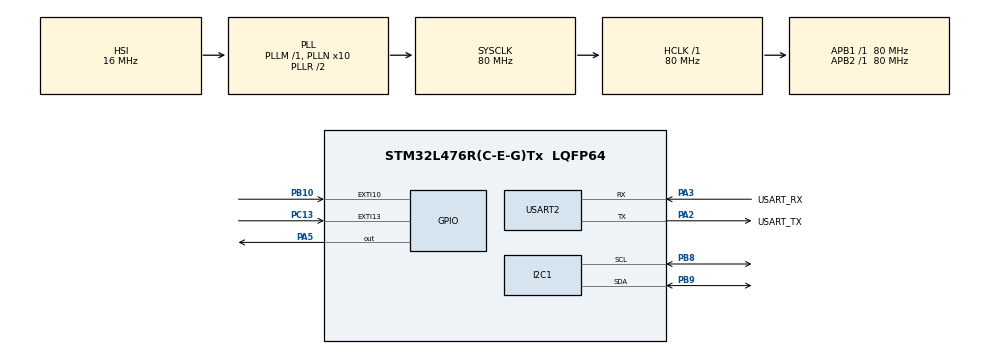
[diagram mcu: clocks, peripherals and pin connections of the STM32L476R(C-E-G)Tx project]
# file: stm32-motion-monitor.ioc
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Dma.I2C1_RX.0.Direction=DMA_PERIPH_TO_MEMORY
Dma.I2C1_RX.0.Instance=DMA1_Channel7
Dma.I2C1_RX.0.MemDataAlignment=DMA_MDATAALIGN_BYTE
Dma.I2C1_RX.0.MemInc=DMA_MINC_ENABLE
Dma.I2C1_RX.0.Mode=DMA_NORMAL
Dma.I2C1_RX.0.PeriphDataAlignment=DMA_PDATAALIGN_BYTE
Dma.I2C1_RX.0.PeriphInc=DMA_PINC_DISABLE
Dma.I2C1_RX.0.Priority=DMA_PRIORITY_LOW
Dma.Request0=I2C1_RX
FREERTOS.Tasks01=acquisitionTask,24,512,StartDefaultTask,Default,NULL,Dynamic,NULL,NULL;interfaceTask,8,750,StartTask02,Default,NULL,Dynamic,NULL,NULL
FREERTOS.configTOTAL_HEAP_SIZE=16384
FREERTOS.configUSE_NEWLIB_REENTRANT=1
I2C1.OwnAddress=0x0
I2C1.Timing=0x10D19CE4
Mcu.Family=STM32L4
Mcu.Name=STM32L476R(C-E-G)Tx
Mcu.Package=LQFP64
NUCLEO-L476RG.LD2=true
NVIC.DMA1_Channel7_IRQn=true\:5\:0\:false\:false\:true\:true\:false\:true\:true
NVIC.EXTI15_10_IRQn=true\:5\:0\:false\:false\:true\:true\:false\:true\:true
NVIC.I2C1_ER_IRQn=true\:5\:0\:false\:false\:true\:true\:true\:true\:true
NVIC.I2C1_EV_IRQn=true\:5\:0\:false\:false\:true\:true\:true\:true\:true
NVIC.PriorityGroup=NVIC_PRIORITYGROUP_4
NVIC.TIM6_DAC_IRQn=true\:5\:0\:false\:false\:true\:true\:true\:true\:true
NVIC.TIM7_IRQn=true\:15\:0\:false\:false\:true\:false\:false\:true\:true
NVIC.TimeBase=TIM7_IRQn
NVIC.TimeBaseIP=TIM7
NVIC.USART2_IRQn=true\:5\:0\:false\:false\:true\:true\:true\:true\:true
PA13\ (JTMS-SWDIO).GPIO_Label=TMS
PA13\ (JTMS-SWDIO).Mode=Serial_Wire
PA13\ (JTMS-SWDIO).Signal=SYS_JTMS-SWDIO
PA14\ (JTCK-SWCLK).GPIO_Label=TCK
PA14\ (JTCK-SWCLK).Mode=Serial_Wire
PA14\ (JTCK-SWCLK).Signal=SYS_JTCK-SWCLK
PA2.GPIO_Label=USART_TX
PA2.GPIO_Mode=GPIO_MODE_AF_PP
PA2.GPIO_PuPd=GPIO_NOPULL
PA2.GPIO_Speed=GPIO_SPEED_FREQ_VERY_HIGH
PA2.Mode=Asynchronous
PA2.Signal=USART2_TX
PA3.GPIO_Label=USART_RX
PA3.GPIO_Mode=GPIO_MODE_AF_PP
PA3.GPIO_PuPd=GPIO_NOPULL
PA3.GPIO_Speed=GPIO_SPEED_FREQ_VERY_HIGH
PA3.Mode=Asynchronous
PA3.Signal=USART2_RX
PA5.Signal=GPIO_Output
PB10.Signal=GPXTI10
PB3\ (JTDO-TRACESWO).GPIO_Label=SWO
PB3\ (JTDO-TRACESWO).Signal=SYS_JTDO-SWO
PB8.Mode=I2C
PB8.Signal=I2C1_SCL
PB9.Mode=I2C
PB9.Signal=I2C1_SDA
PC13.GPIO_ModeDefaultEXTI=GPIO_MODE_IT_FALLING
PC13.Signal=GPXTI13
PC14-OSC32_IN\ (PC14).Signal=RCC_OSC32_IN
PC15-OSC32_OUT\ (PC15).Signal=RCC_OSC32_OUT
PH0-OSC_IN\ (PH0).Signal=RCC_OSC_IN
PH1-OSC_OUT\ (PH1).Signal=RCC_OSC_OUT
ProjectManager.HeapSize=0x200
ProjectManager.StackSize=0x400
ProjectManager.TargetToolchain=STM32CubeIDE
RCC.ADCFreq_Value=64000000
RCC.AHBFreq_Value=80000000
RCC.APB1Freq_Value=80000000
RCC.APB1TimFreq_Value=80000000
RCC.APB2Freq_Value=80000000
RCC.APB2TimFreq_Value=80000000
RCC.CortexFreq_Value=80000000
RCC.HCLKFreq_Value=80000000
RCC.HSE_VALUE=8000000
RCC.HSI_VALUE=16000000
RCC.LSE_VALUE=32768
RCC.MSI_VALUE=4000000
RCC.PLLN=10
RCC.PLLSourceVirtual=RCC_PLLSOURCE_HSI
RCC.PREFETCH_ENABLE=1
RCC.SYSCLKFreq_VALUE=80000000
RCC.SYSCLKSource=RCC_SYSCLKSOURCE_PLLCLK
RCC.USBFreq_Value=64000000
RCC.VCOOutputFreq_Value=160000000
TIM2.Prescaler=79
TIM6.Period=4999
TIM6.Prescaler=7999
USART2.VirtualMode-Asynchronous=VM_ASYNC
VP_FREERTOS_VS_CMSIS_V2.Mode=CMSIS_V2
VP_NUCLEO-L476RG_VS_BSP_COMMON.Mode=COMMON
VP_SYS_VS_tim7.Mode=TIM7
VP_TIM2_VS_ClockSourceINT.Mode=Internal
VP_TIM6_VS_ClockSourceINT.Mode=Enable_Timer
board=NUCLEO-L476RG

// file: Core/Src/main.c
/* USER CODE BEGIN Header */
/**
  ******************************************************************************
  * @file           : main.c
  * @brief          : Main program body
  ******************************************************************************
  * @attention
  *
  * Copyright (c) 2026 STMicroelectronics.
  * All rights reserved.
  *
  * This software is licensed under terms that can be found in the LICENSE file
  * in the root directory of this software component.
  * If no LICENSE file comes with this software, it is provided AS-IS.
  *
  ******************************************************************************
  */
/* USER CODE END Header */
#include "main.h"
#include "cmsis_os.h"

/* USER CODE BEGIN Includes */
#include "stdbool.h"
#include <stdio.h>
#include "ism330dhcx.h"
#include "sensor_sample_buffer.h"
#include "sensor_analysis_window.h"
#include "sensor_acquisition.h"
#include "condition_monitor.h"

#include "cli.h"
#include "control_command.h"
/* USER CODE END Includes */

/* USER CODE BEGIN PTD */
typedef enum
{
    ACQUISITION_STATE_STOPPED = 0,
    ACQUISITION_STATE_RUNNING,
    ACQUISITION_STATE_STOPPING,
    ACQUISITION_STATE_RECONFIGURING,
    ACQUISITION_STATE_STARTING,
	ACQUISITION_STATE_FAULT
} acquisition_control_state_t;
typedef struct
{
    acquisition_control_state_t acquisition_state;
    condition_state_t state;
    float severity_score;

    sensor_acceleration_time_features_t acceleration_features;
    uint32_t completed_window_count;

    uint32_t consecutive_sensor_errors;
    uint32_t dropped_sensor_samples;
    uint32_t dropped_telemetry_reports;
} telemetry_report_t;

/* USER CODE END PTD */

/* USER CODE BEGIN PD */
#define TELEMETRY_QUEUE_CAPACITY 4U
#define UART_RX_QUEUE_CAPACITY     64U
#define CONTROL_COMMAND_QUEUE_CAPACITY 2U

#define STOP_DMA_TIMEOUT_MS 50U

/* USER CODE END PD */

/* USER CODE BEGIN PM */
#define LED_DELAY_MS					   500U

/* USER CODE END PM */

I2C_HandleTypeDef hi2c1;
DMA_HandleTypeDef hdma_i2c1_rx;

TIM_HandleTypeDef htim2;
TIM_HandleTypeDef htim6;

UART_HandleTypeDef huart2;

/* Definitions for acquisitionTask */
osThreadId_t acquisitionTaskHandle;
const osThreadAttr_t acquisitionTask_attributes = {
  .name = "acquisitionTask",
  .stack_size = 512 * 4,
  .priority = (osPriority_t) osPriorityNormal,
};
/* Definitions for interfaceTask */
osThreadId_t interfaceTaskHandle;
const osThreadAttr_t interfaceTask_attributes = {
  .name = "interfaceTask",
  .stack_size = 750 * 4,
  .priority = (osPriority_t) osPriorityLow,
};

/* USER CODE BEGIN PV */

static volatile uint32_t timer_event_count=0U;

static volatile bool button_pressed_event = false;
static bool blinking_enabled = true;
static uint32_t last_button_tick = 0U;
static const uint32_t debounce_time_ms = 40U;

//Motion sensor
static ism330dhcx_t motion_sensor;
static sensor_sample_t raw_sample;

//DMA variables
static sensor_physical_sample_t  dma_converted_sample;
static sensor_sample_buffer_t sensor_sample_buffer;
static sensor_window_t sensor_window;
static sensor_acquisition_t sensor_acquisition;
static uint32_t previous_timestamp_us = 0U;
static uint32_t latest_dt_us = 0U;

static uint32_t min_dt_us = UINT32_MAX;
static uint32_t max_dt_us = 0U;

static uint64_t sum_dt_us = 0U;
static uint32_t dt_sample_count = 0U;

static ism330dhcx_axes_t
    centered_accelerations[SENSOR_ANALYSIS_WINDOW_SIZE];
static sensor_acceleration_time_features_t acceleration_features;
static condition_monitor_t condition_monitor;

static osMessageQueueId_t telemetry_queue_handle;
static osMessageQueueId_t rx_queue_handle;
static osMessageQueueId_t control_command_queue_handle;
static osMessageQueueId_t control_response_queue_handle;

static uint8_t uart_rx_byte;
static volatile uint32_t uart_rx_dropped_byte_count = 0U;
static volatile uint32_t uart_rx_error_count = 0U;
static volatile uint32_t uart_rx_rearm_error_count = 0U;
static volatile bool uart_rx_restart_required = false;
/* USER CODE END PV */

void SystemClock_Config(void);
static void MX_GPIO_Init(void);
static void MX_DMA_Init(void);
static void MX_TIM6_Init(void);
static void MX_I2C1_Init(void);
static void MX_USART2_UART_Init(void);
static void MX_TIM2_Init(void);
void StartDefaultTask(void *argument);
void StartTask02(void *argument);

/* USER CODE BEGIN 0 */
static void handle_control_command(
    const control_command_t *command,
    const telemetry_report_t *report,
    bool report_available);
/* USER CODE END 0 */

int main(void)
{

  /* MCU Configuration--------------------------------------------------------*/

  /* Reset of all peripherals, Initializes the Flash interface and the Systick. */
  HAL_Init();

  /* Configure the system clock */
  SystemClock_Config();

  /* Initialize all configured peripherals */
  MX_GPIO_Init();
  MX_DMA_Init();
  MX_TIM6_Init();
  MX_I2C1_Init();
  MX_USART2_UART_Init();
  MX_TIM2_Init();
  /* USER CODE BEGIN 2 */

  if (HAL_TIM_Base_Start(&htim2) != HAL_OK)
  {
      Error_Handler();
  }
  //ISM330DHCX sensor
  ism330dhcx_status_t sensor_status;
  uint8_t device_id = 0U;

  const ism330dhcx_interface_config_t interface_config =
  {
		  .auto_increment = true,
		  .block_data_update = true
  };

  const ism330dhcx_sensor_config_t sensor_config =
  {
		  .accel_odr = ISM330DHCX_ACCEL_ODR_104_HZ,
		  .accel_range = ISM330DHCX_ACCEL_RANGE_4G,
		  .accel_mode  = ISM330DHCX_MODE_HIGH_PERFORMANCE,

		  .gyro_odr = ISM330DHCX_GYRO_ODR_104_HZ,
		  .gyro_range = ISM330DHCX_GYRO_500_DPS,
		  .gyro_mode   = ISM330DHCX_MODE_HIGH_PERFORMANCE
  };

  const ism330dhcx_interrupt1_output_config_t int1_config =
  {
	  .accelerometer_drdy = true,
	  .gyro_drdy = false,
	  .pulsed_drdy = true
  };

  static const condition_monitor_config_t condition_config =
  {
      .impact_reference_mps2 = 1.0f,
      .decay_factor = 0.8f,

      .warning_enter_score = 3.0f,
      .warning_exit_score = 1.0f,
      .alarm_enter_score = 10.0f,
	  .alarm_exit_score = 6.0f,
      .maximum_score = 100.0f,

      .sensor_fault_consecutive_error_limit = 3U
  };

  /* Step 1: Initialize the driver object. */
  sensor_status = ism330dhcx_init(
      &motion_sensor,
      &hi2c1,
	  ISM330DHCX_I2C_ADDRESS_HIGH_7BIT,
      100U);

  if (sensor_status != ISM330DHCX_OK)
  {
      Error_Handler();
  }

  /* Step 2: Confirm that the sensor responds. */
  sensor_status = ism330dhcx_read_device_id(
      &motion_sensor,
      &device_id);

  if (sensor_status != ISM330DHCX_OK)
  {
      Error_Handler();
  }

  /* Step 3: Reset the sensor and wait for completion. */
  sensor_status = ism330dhcx_reset(&motion_sensor);

  if (sensor_status != ISM330DHCX_OK)
  {
      Error_Handler();
  }
  /* Step 4: Confirm that the sensor still responds after reset. */
  device_id = 0U;

  sensor_status = ism330dhcx_read_device_id(
      &motion_sensor,
      &device_id);

  if (sensor_status != ISM330DHCX_OK)
  {
      Error_Handler();
  }

  /* Step 5: Apply the interface configuration. */
  sensor_status = ism330dhcx_configure_interface(
      &motion_sensor,
      &interface_config);

  if (sensor_status != ISM330DHCX_OK)
  {
      Error_Handler();
  }

  /* Step 6: Apply the sensor configuration. */

  sensor_status = ism330dhcx_configure_sensor(
      &motion_sensor,
      &sensor_config);

  if (sensor_status != ISM330DHCX_OK)
  {
      Error_Handler();
  }

  /* Step 7: Apply the INT1 DRDY configuration. */
  sensor_status = ism330dhcx_configure_int1(
      &motion_sensor,
      &int1_config);

  if (sensor_status != ISM330DHCX_OK)
  {
      Error_Handler();
  }
  /* Step 8: Apply the DMA configuration. */
  (void)sensor_sample_buffer_init(&sensor_sample_buffer);
  (void)sensor_window_init(&sensor_window);
  (void)sensor_acquisition_init(&sensor_acquisition, &motion_sensor);

  /* Step 9: Apply the condition monitoring configuration. */

  if (!condition_monitor_init(&condition_monitor,&condition_config))
  {
      Error_Handler();
  }

  if(HAL_TIM_Base_Start_IT(&htim6) != HAL_OK)
  {
	  Error_Handler();
  }
  /* USER CODE END 2 */

  /* Init scheduler */
  osKernelInitialize();

  /* USER CODE BEGIN RTOS_QUEUES */
  /* add queues, ... */
  telemetry_queue_handle = osMessageQueueNew(
      TELEMETRY_QUEUE_CAPACITY,
      sizeof(telemetry_report_t),
      NULL);

  if (telemetry_queue_handle == NULL)
  {
      Error_Handler();
  }

  rx_queue_handle = osMessageQueueNew(
      UART_RX_QUEUE_CAPACITY,
      sizeof(uint8_t),
      NULL);
  if (rx_queue_handle == NULL)
  {
      Error_Handler();
  }

  control_command_queue_handle = osMessageQueueNew(
      CONTROL_COMMAND_QUEUE_CAPACITY,
      sizeof(control_command_t),
      NULL);
  if (control_command_queue_handle == NULL)
  {
      Error_Handler();
  }
  control_response_queue_handle = osMessageQueueNew(
      CONTROL_COMMAND_QUEUE_CAPACITY,
      sizeof(control_response_t),
      NULL);
  if (control_response_queue_handle == NULL)
  {
      Error_Handler();
  }
  /* USER CODE END RTOS_QUEUES */

  /* Create the thread(s) */
  /* creation of acquisitionTask */
  acquisitionTaskHandle = osThreadNew(StartDefaultTask, NULL, &acquisitionTask_attributes);

  /* creation of interfaceTask */
  interfaceTaskHandle = osThreadNew(StartTask02, NULL, &interfaceTask_attributes);

  /* Initialize leds */
  BSP_LED_Init(LED_GREEN);

  /* Start scheduler */
  osKernelStart();

  /* We should never get here as control is now taken by the scheduler */

  /* Infinite loop */
  while (1)
  {

  }
}

void SystemClock_Config(void)
{
  RCC_OscInitTypeDef RCC_OscInitStruct = {0};
  RCC_ClkInitTypeDef RCC_ClkInitStruct = {0};

  /** Configure the main internal regulator output voltage
  */
  if (HAL_PWREx_ControlVoltageScaling(PWR_REGULATOR_VOLTAGE_SCALE1) != HAL_OK)
  {
    Error_Handler();
  }

  /** Initializes the RCC Oscillators according to the specified parameters
  * in the RCC_OscInitTypeDef structure.
  */
  RCC_OscInitStruct.OscillatorType = RCC_OSCILLATORTYPE_HSI;
  RCC_OscInitStruct.HSIState = RCC_HSI_ON;
  RCC_OscInitStruct.HSICalibrationValue = RCC_HSICALIBRATION_DEFAULT;
  RCC_OscInitStruct.PLL.PLLState = RCC_PLL_ON;
  RCC_OscInitStruct.PLL.PLLSource = RCC_PLLSOURCE_HSI;
  RCC_OscInitStruct.PLL.PLLM = 1;
  RCC_OscInitStruct.PLL.PLLN = 10;
  RCC_OscInitStruct.PLL.PLLP = RCC_PLLP_DIV7;
  RCC_OscInitStruct.PLL.PLLQ = RCC_PLLQ_DIV2;
  RCC_OscInitStruct.PLL.PLLR = RCC_PLLR_DIV2;
  if (HAL_RCC_OscConfig(&RCC_OscInitStruct) != HAL_OK)
  {
    Error_Handler();
  }

  /** Initializes the CPU, AHB and APB buses clocks
  */
  RCC_ClkInitStruct.ClockType = RCC_CLOCKTYPE_HCLK|RCC_CLOCKTYPE_SYSCLK
                              |RCC_CLOCKTYPE_PCLK1|RCC_CLOCKTYPE_PCLK2;
  RCC_ClkInitStruct.SYSCLKSource = RCC_SYSCLKSOURCE_PLLCLK;
  RCC_ClkInitStruct.AHBCLKDivider = RCC_SYSCLK_DIV1;
  RCC_ClkInitStruct.APB1CLKDivider = RCC_HCLK_DIV1;
  RCC_ClkInitStruct.APB2CLKDivider = RCC_HCLK_DIV1;

  if (HAL_RCC_ClockConfig(&RCC_ClkInitStruct, FLASH_LATENCY_4) != HAL_OK)
  {
    Error_Handler();
  }
}

static void MX_I2C1_Init(void)
{

  hi2c1.Instance = I2C1;
  hi2c1.Init.Timing = 0x10D19CE4;
  hi2c1.Init.OwnAddress1 = 0;
  hi2c1.Init.AddressingMode = I2C_ADDRESSINGMODE_7BIT;
  hi2c1.Init.DualAddressMode = I2C_DUALADDRESS_DISABLE;
  hi2c1.Init.OwnAddress2 = 0;
  hi2c1.Init.OwnAddress2Masks = I2C_OA2_NOMASK;
  hi2c1.Init.GeneralCallMode = I2C_GENERALCALL_DISABLE;
  hi2c1.Init.NoStretchMode = I2C_NOSTRETCH_DISABLE;
  if (HAL_I2C_Init(&hi2c1) != HAL_OK)
  {
    Error_Handler();
  }

  /** Configure Analogue filter
  */
  if (HAL_I2CEx_ConfigAnalogFilter(&hi2c1, I2C_ANALOGFILTER_ENABLE) != HAL_OK)
  {
    Error_Handler();
  }

  /** Configure Digital filter
  */
  if (HAL_I2CEx_ConfigDigitalFilter(&hi2c1, 0) != HAL_OK)
  {
    Error_Handler();
  }

}

static void MX_TIM2_Init(void)
{

  TIM_ClockConfigTypeDef sClockSourceConfig = {0};
  TIM_MasterConfigTypeDef sMasterConfig = {0};

  htim2.Instance = TIM2;
  htim2.Init.Prescaler = 79;
  htim2.Init.CounterMode = TIM_COUNTERMODE_UP;
  htim2.Init.Period = 4294967295;
  htim2.Init.ClockDivision = TIM_CLOCKDIVISION_DIV1;
  htim2.Init.AutoReloadPreload = TIM_AUTORELOAD_PRELOAD_DISABLE;
  if (HAL_TIM_Base_Init(&htim2) != HAL_OK)
  {
    Error_Handler();
  }
  sClockSourceConfig.ClockSource = TIM_CLOCKSOURCE_INTERNAL;
  if (HAL_TIM_ConfigClockSource(&htim2, &sClockSourceConfig) != HAL_OK)
  {
    Error_Handler();
  }
  sMasterConfig.MasterOutputTrigger = TIM_TRGO_RESET;
  sMasterConfig.MasterSlaveMode = TIM_MASTERSLAVEMODE_DISABLE;
  if (HAL_TIMEx_MasterConfigSynchronization(&htim2, &sMasterConfig) != HAL_OK)
  {
    Error_Handler();
  }

}

static void MX_TIM6_Init(void)
{

  TIM_MasterConfigTypeDef sMasterConfig = {0};

  htim6.Instance = TIM6;
  htim6.Init.Prescaler = 7999;
  htim6.Init.CounterMode = TIM_COUNTERMODE_UP;
  htim6.Init.Period = 4999;
  htim6.Init.AutoReloadPreload = TIM_AUTORELOAD_PRELOAD_DISABLE;
  if (HAL_TIM_Base_Init(&htim6) != HAL_OK)
  {
    Error_Handler();
  }
  sMasterConfig.MasterOutputTrigger = TIM_TRGO_RESET;
  sMasterConfig.MasterSlaveMode = TIM_MASTERSLAVEMODE_DISABLE;
  if (HAL_TIMEx_MasterConfigSynchronization(&htim6, &sMasterConfig) != HAL_OK)
  {
    Error_Handler();
  }

}

static void MX_USART2_UART_Init(void)
{

  huart2.Instance = USART2;
  huart2.Init.BaudRate = 115200;
  huart2.Init.WordLength = UART_WORDLENGTH_8B;
  huart2.Init.StopBits = UART_STOPBITS_1;
  huart2.Init.Parity = UART_PARITY_NONE;
  huart2.Init.Mode = UART_MODE_TX_RX;
  huart2.Init.HwFlowCtl = UART_HWCONTROL_NONE;
  huart2.Init.OverSampling = UART_OVERSAMPLING_16;
  huart2.Init.OneBitSampling = UART_ONE_BIT_SAMPLE_DISABLE;
  huart2.AdvancedInit.AdvFeatureInit = UART_ADVFEATURE_NO_INIT;
  if (HAL_UART_Init(&huart2) != HAL_OK)
  {
    Error_Handler();
  }

}

static void MX_DMA_Init(void)
{

  /* DMA controller clock enable */
  __HAL_RCC_DMA1_CLK_ENABLE();

  /* DMA interrupt init */
  /* DMA1_Channel7_IRQn interrupt configuration */
  HAL_NVIC_SetPriority(DMA1_Channel7_IRQn, 5, 0);
  HAL_NVIC_EnableIRQ(DMA1_Channel7_IRQn);

}

static void MX_GPIO_Init(void)
{
  GPIO_InitTypeDef GPIO_InitStruct = {0};

  /* GPIO Ports Clock Enable */
  __HAL_RCC_GPIOC_CLK_ENABLE();
  __HAL_RCC_GPIOH_CLK_ENABLE();
  __HAL_RCC_GPIOA_CLK_ENABLE();
  __HAL_RCC_GPIOB_CLK_ENABLE();

  /*Configure GPIO pin : PC13 */
  GPIO_InitStruct.Pin = GPIO_PIN_13;
  GPIO_InitStruct.Mode = GPIO_MODE_IT_FALLING;
  GPIO_InitStruct.Pull = GPIO_NOPULL;
  HAL_GPIO_Init(GPIOC, &GPIO_InitStruct);

  /*Configure GPIO pin : PB10 */
  GPIO_InitStruct.Pin = GPIO_PIN_10;
  GPIO_InitStruct.Mode = GPIO_MODE_IT_RISING;
  GPIO_InitStruct.Pull = GPIO_NOPULL;
  HAL_GPIO_Init(GPIOB, &GPIO_InitStruct);

  /* EXTI interrupt init*/
  HAL_NVIC_SetPriority(EXTI15_10_IRQn, 5, 0);
  HAL_NVIC_EnableIRQ(EXTI15_10_IRQn);

}

/* USER CODE BEGIN 4 */

static void recover_uart_receive(command_assembler_state_t *assembler)
{
    static bool failure_reported = false;

    if (!uart_rx_restart_required)
    {
        return;
    }

    /* Only mask USART2: acquisition interrupts remain available during recovery. */
    HAL_NVIC_DisableIRQ(USART2_IRQn);
    HAL_StatusTypeDef status = HAL_UART_AbortReceive(&huart2);

    if (status == HAL_OK)
    {
        if (osMessageQueueReset(rx_queue_handle) != osOK)
        {
            Error_Handler();
        }

        command_assembler_init(assembler);
        /* Ignore the damaged line's suffix until CR/LF restores the boundary. */
        assembler->discard_mode = true;
        uart_rx_restart_required = false;
        status = HAL_UART_Receive_IT(
            &huart2, &uart_rx_byte, sizeof(uart_rx_byte));
    }

    if (status != HAL_OK)
    {
        ++uart_rx_rearm_error_count;
        uart_rx_restart_required = true;
    }

    HAL_NVIC_EnableIRQ(USART2_IRQn);

    if (status == HAL_OK)
    {
        failure_reported = false;
        printf("UART RX restarted; press Enter, then retry\r\n");
    }
    else if (!failure_reported)
    {
        failure_reported = true;
        printf("UART RX recovery failed; retrying\r\n");
    }
}

static void print_status_report(const telemetry_report_t *report)
{
    if (report == NULL)
    {
        return;
    }

    const char *acquisition_name = "UNKNOWN";
    const char *condition_name = "UNKNOWN";
    const char *assessment = "Condition state is unavailable.";

    switch (report->acquisition_state)
    {
    case ACQUISITION_STATE_STOPPED:
        acquisition_name = "STOPPED";
        break;

    case ACQUISITION_STATE_RUNNING:
        acquisition_name = "RUNNING";
        break;

    case ACQUISITION_STATE_STOPPING:
        acquisition_name = "STOPPING";
        break;

    case ACQUISITION_STATE_RECONFIGURING:
        acquisition_name = "RECONFIGURING";
        break;

    case ACQUISITION_STATE_STARTING:
        acquisition_name = "STARTING";
        break;

    case ACQUISITION_STATE_FAULT:
        acquisition_name = "FAULT";
        break;

    default:
        break;
    }

    switch (report->state)
    {
    case CONDITION_STATE_NORMAL:
        condition_name = "NORMAL";
        assessment = "Accumulated severity is in the normal state.";
        break;

    case CONDITION_STATE_WARNING:
        condition_name = "WARNING";
        assessment = "Accumulated severity is in the warning state.";
        break;

    case CONDITION_STATE_ALARM:
        condition_name = "ALARM";
        assessment = "Accumulated severity is in the alarm state.";
        break;

    case CONDITION_STATE_SENSOR_FAULT:
        condition_name = "SENSOR FAULT";
        assessment = "The sensor fault state is latched until reset.";
        break;

    default:
        break;
    }

    printf(
        "\r\n"
        "STM32 CONDITION MONITOR\r\n"
        "==================================================\r\n"
        "Acquisition state : %s\r\n"
        "Condition state   : %s\r\n"
        "Severity score    : %.2f\r\n"
        "Completed windows : %lu\r\n"
        "Window size       : %lu samples\r\n",
        acquisition_name,
        condition_name,
        report->severity_score,
        (unsigned long)report->completed_window_count,
        (unsigned long)SENSOR_ANALYSIS_WINDOW_SIZE);

    if (report->completed_window_count == 0U)
    {
        printf("\r\nNo complete measurement window available yet.\r\n");
    }
    else
    {
        printf(
            "Measurement data  : %s\r\n",
            (report->acquisition_state == ACQUISITION_STATE_RUNNING)
                ? "Latest completed window"
                : "Retained last window; acquisition is not running");

        const sensor_acceleration_time_features_t *features =
            &report->acceleration_features;

        printf(
            "\r\n"
            "ACCELERATION (mean removed)\r\n"
            "--------------------------------------------------\r\n"
            "Axis       RMS (m/s^2)     Absolute peak (m/s^2)\r\n"
            " X         %10.3f          %10.3f\r\n"
            " Y         %10.3f          %10.3f\r\n"
            " Z         %10.3f          %10.3f\r\n"
            "--------------------------------------------------\r\n"
            "Maximum magnitude : %.3f m/s^2\r\n"
            "Peak sample index : %lu (zero based)\r\n"
            "Peak DRDY time    : %lu us\r\n",
            features->rms_mps2.x,
            features->peak_mps2.x,
            features->rms_mps2.y,
            features->peak_mps2.y,
            features->rms_mps2.z,
            features->peak_mps2.z,
            features->max_magnitude_mps2,
            (unsigned long)features->max_magnitude_index,
            (unsigned long)features->max_magnitude_timestamp_us);
    }

    printf(
        "\r\n"
        "DATA INTEGRITY\r\n"
        "--------------------------------------------------\r\n"
        "Consecutive sensor errors : %lu\r\n"
        "Dropped sensor samples    : %lu\r\n"
        "Dropped telemetry reports : %lu\r\n"
        "UART receive errors       : %lu\r\n"
        "UART receive rearm errors : %lu\r\n"
        "Dropped UART bytes        : %lu\r\n"
        "\r\n"
        "ASSESSMENT\r\n"
        "%s\r\n"
        "==================================================\r\n\r\n",
        (unsigned long)report->consecutive_sensor_errors,
        (unsigned long)report->dropped_sensor_samples,
        (unsigned long)report->dropped_telemetry_reports,
        (unsigned long)uart_rx_error_count,
        (unsigned long)uart_rx_rearm_error_count,
        (unsigned long)uart_rx_dropped_byte_count,
        assessment);
}

static void handle_control_command(
    const control_command_t *command,
    const telemetry_report_t *report,
    bool report_available)
{
	if((command == NULL) || (report == NULL)){return;}

	switch(command->command_type){
	case CONTROL_COMMAND_HELP:
	    printf(
	        "Available commands:\r\n"
	        "  help                         - Show this command list\r\n"
	        "  get status                   - Show the latest monitoring report\r\n"
		    "  start                        - Start acquisition\r\n"
		    "  stop                         - Stop acquisition\r\n"
		    "  get impact-reference         - Show the severity calculation reference\r\n"
		    "  set impact-reference <mps2>   - Set reference acceleration in m/s^2\r\n"
	        "\r\n"
	        "Planned commands (not implemented yet):\r\n"
	        "  get config                   - Show sensor and monitoring settings\r\n"
	        "  get rate                     - Show configured sampling rates\r\n"
	        "  set rate <hz>                - Request a supported sampling rate\r\n"

	        "  get errors                   - Show sensor and UART error/drop counters\r\n"
	        "  get version                  - Show firmware version\r\n"
);
		break;

	case CONTROL_COMMAND_GET_STATUS:
	{
	    if (!report_available)
	    {
	        printf("No monitoring report available yet\r\n");
	        break;
	    }

	    print_status_report(report);
	    break;
	}

	case CONTROL_COMMAND_GET_IMPACT_REFERENCE:
	case CONTROL_COMMAND_SET_IMPACT_REFERENCE:
	case CONTROL_COMMAND_STOP:
	case CONTROL_COMMAND_START:
	{

	    const osStatus_t queue_status =
	        osMessageQueuePut(
	            control_command_queue_handle,
	            command,
	            0U,  /* No message priority. */
	            0U);
		if(queue_status == osOK)
		{
			printf("Request submitted\r\n");

		}
		else if(queue_status == osErrorResource)
		{
			printf("Command queue full; request not submitted\r\n");

		}
		else
		{
			Error_Handler();

		}
		break;
	}

	default:printf("Command not implemented yet \r\n");
	}
}

void HAL_GPIO_EXTI_Callback(uint16_t GPIO_Pin){

	//Pin interrupt with 40ms debounce, sets the event flag
	if(GPIO_Pin == GPIO_PIN_13)
	{
		const uint32_t now = HAL_GetTick();

		if(now- last_button_tick >= debounce_time_ms)
		{
			button_pressed_event = true;
			last_button_tick = now;
		}

	}
	//Pin interrupt with data-ready event
	if(GPIO_Pin == GPIO_PIN_10)
	{
		uint32_t time_us = __HAL_TIM_GET_COUNTER(&htim2);
		sensor_acquisition_on_drdy(&sensor_acquisition, time_us);

	}
}

//Printf
int _write(int file, char *data, int length)
{
    (void)file;

    if (HAL_UART_Transmit(&huart2,
                          (uint8_t *)data,
                          (uint16_t)length,
                          100U) == HAL_OK)
    {
        return length;
    }

    return -1;
}

void HAL_I2C_MemRxCpltCallback(I2C_HandleTypeDef *hi2c)
{
	if(hi2c->Instance == I2C1)
	{
		sensor_acquisition_on_dma_complete(&sensor_acquisition);

	}
}

void HAL_I2C_ErrorCallback(I2C_HandleTypeDef *hi2c)
{
    /* check which I2C instance failed */
	if (hi2c->Instance == I2C1)
	{
		/* notify sensor_acquisition */
		sensor_acquisition_on_error(&sensor_acquisition);
	}

}

void HAL_UART_RxCpltCallback(UART_HandleTypeDef *huart)
{
    /* check which USART instance */
	if (huart->Instance == USART2)
	{
        if (uart_rx_restart_required)
        {
            return;
        }

	    //Message put on the queue
	    const osStatus_t queue_status =
	        osMessageQueuePut(
	            rx_queue_handle,
	            &uart_rx_byte,
	            0U,  /* No message priority. */
	            0U);

	    if (queue_status == osErrorResource)
	    {
	        /* A missing byte invalidates the entire command, including set values. */
	        ++uart_rx_dropped_byte_count;
            uart_rx_restart_required = true;
            return;
	    }
        else if (queue_status != osOK)
        {
            Error_Handler();
        }

		if (HAL_UART_Receive_IT(
		        huart,
		        &uart_rx_byte,
		        sizeof(uart_rx_byte)) != HAL_OK)
		{
			++uart_rx_rearm_error_count;
			uart_rx_restart_required = true;
		    return;
		}

	}
}

void HAL_UART_ErrorCallback(UART_HandleTypeDef *huart)
{
    if (huart->Instance == USART2)
    {
        ++uart_rx_error_count;
        uart_rx_restart_required = true;
    }
}

/* USER CODE END 4 */

void StartDefaultTask(void *argument)
{
  /* USER CODE BEGIN 5 */
	   (void)argument;

	    condition_state_t last_reported_state =
	        CONDITION_STATE_COUNT;
	    uint32_t dropped_telemetry_reports = 0U;
	    uint32_t dropped_control_response_count = 0U;
	    acquisition_control_state_t acquisition_state =
	        ACQUISITION_STATE_RUNNING;
	    control_command_t pending_stop_request;
	    bool stop_response_pending = false;
	    ism330dhcx_sensor_config_t running_sensor_config =
	        motion_sensor.sensor_config;
	    uint32_t stop_started_ms = 0U;
	    acquisition_control_state_t last_reported_acquisition_state =
	        acquisition_state;
  /* Infinite loop */
  for(;;)
  {

		bool has_new_window = false;
		//DMA
		const ism330dhcx_status_t status =
		    sensor_acquisition_process(&sensor_acquisition);

		if (status == ISM330DHCX_INVALID_ARGUMENT)
		{
		    /* Programming/configuration error. */
		    Error_Handler();
		}
		else if (status != ISM330DHCX_OK)
		{
		    /* Count recoverable DMA-start errors too. */
		    sensor_acquisition_on_error(&sensor_acquisition);
		}

		if (sensor_acquisition_get_sample(
		        &sensor_acquisition,
		        &raw_sample))
		{
			if(acquisition_state == ACQUISITION_STATE_RUNNING)
			{
			    (void)sensor_sample_buffer_push(
			        &sensor_sample_buffer,
			        &(raw_sample));
			}

		}

		/*
		 * The DMA pipeline has now finished and its final sample was discarded.
		 */
		if ((acquisition_state == ACQUISITION_STATE_STOPPING) &&
		    sensor_acquisition_is_quiescent(&sensor_acquisition))
		{
            /* Discard partial data before powering down the quiescent sensor. */
			sensor_sample_buffer_clear(&sensor_sample_buffer);
			sensor_window_release(&sensor_window);
			previous_timestamp_us = 0U;

			ism330dhcx_sensor_config_t stopped_config =
			    running_sensor_config;
			stopped_config.accel_odr = ISM330DHCX_ACCEL_ODR_PWR_DOWN;
			stopped_config.gyro_odr = ISM330DHCX_GYRO_ODR_PWR_DOWN;

			const ism330dhcx_status_t stop_status =
			    ism330dhcx_configure_sensor(
			        &motion_sensor,
			        &stopped_config);

			if(stop_status == ISM330DHCX_OK)
			{
				acquisition_state = ACQUISITION_STATE_STOPPED;
			}
			else
			{
				sensor_acquisition_on_error(&sensor_acquisition);
				acquisition_state = ACQUISITION_STATE_FAULT;
			}

		}
		else if ((acquisition_state == ACQUISITION_STATE_STOPPING) &&
		         ((uint32_t)(HAL_GetTick() - stop_started_ms) >=
		          STOP_DMA_TIMEOUT_MS))
		{
		    sensor_sample_buffer_clear(&sensor_sample_buffer);
		    sensor_window_release(&sensor_window);
		    previous_timestamp_us = 0U;

		    acquisition_state = ACQUISITION_STATE_FAULT;
		}

		if (stop_response_pending &&
		    ((acquisition_state == ACQUISITION_STATE_STOPPED) ||
		     (acquisition_state == ACQUISITION_STATE_FAULT)))
		{
			const control_response_t response =
			{
			    .command = pending_stop_request,
				.success =
				    (acquisition_state == ACQUISITION_STATE_STOPPED)
			};
		    const osStatus_t response_status =
		          osMessageQueuePut(
		              control_response_queue_handle,
		              &response,
		              0U,
		              0U);

		    if (response_status == osErrorResource)
		    {
		        ++dropped_control_response_count;
		    }
		    else if (response_status != osOK)
		    {
		        Error_Handler();
		    }
		    stop_response_pending = false;
		}

		if ((acquisition_state == ACQUISITION_STATE_RUNNING) &&
				sensor_sample_buffer_pop(
		        &sensor_sample_buffer,
		        &raw_sample))
		{

		    if (previous_timestamp_us != 0U)
		    {
		        latest_dt_us =
		            raw_sample.timestamp_us - previous_timestamp_us;

		        if (latest_dt_us < min_dt_us)
		        {
		            min_dt_us = latest_dt_us;
		        }

		        if (latest_dt_us > max_dt_us)
		        {
		            max_dt_us = latest_dt_us;
		        }

		        sum_dt_us += latest_dt_us;
		        ++dt_sample_count;
		    }

		    previous_timestamp_us = raw_sample.timestamp_us;
		    /* convert raw_sample here */
		    const ism330dhcx_status_t dma_conversion_status =
		        ism330dhcx_convert_raw_sample(
		            &motion_sensor,
		            &raw_sample.data,
		            &dma_converted_sample.data);

		    if (dma_conversion_status != ISM330DHCX_OK)
		    {
		        Error_Handler();
		    }

		    dma_converted_sample.timestamp_us =
		        raw_sample.timestamp_us;

		    sensor_window_push(
		        &sensor_window,
		        &dma_converted_sample);

		}

		//Window consumption
		if ((acquisition_state == ACQUISITION_STATE_RUNNING) &&
				sensor_window_is_ready(&sensor_window))
		{

		    if (!sensor_window_calculate_acceleration_features(
		    	    &sensor_window,
		    	    &acceleration_features,
					centered_accelerations))
		    {
		        Error_Handler();
		    }
		    has_new_window = true;

		    sensor_window_release(&sensor_window);

		}

		const condition_monitor_input_t condition_input =
		{
		    .has_new_window = has_new_window,

		    .max_magnitude_mps2 =
		        has_new_window
		            ? acceleration_features.max_magnitude_mps2
		            : 0.0f,

		    .consecutive_sensor_errors =
		        sensor_acquisition_get_consecutive_error_count(
		            &sensor_acquisition)
		};

		if (!condition_monitor_update(
		        &condition_monitor,
		        &condition_input))
		{
		    Error_Handler();
		}

		const condition_state_t current_state =
		    condition_monitor_get_state(&condition_monitor);

		/*
		 * Prints a report of sensor acquisition window
		 */
		if (has_new_window ||
		    (current_state != last_reported_state) ||
		    (acquisition_state != last_reported_acquisition_state))
		{

			const telemetry_report_t report =
			{
			    .acquisition_state = acquisition_state,

			    .state = current_state,

			    .severity_score =
			        condition_monitor_get_severity_score(
			            &condition_monitor),

			    .acceleration_features = acceleration_features,

			    .completed_window_count =
			        sensor_window_get_completed_count(
			            &sensor_window),

			    .consecutive_sensor_errors =
			        condition_input.consecutive_sensor_errors,

			    .dropped_sensor_samples =
			        sensor_acquisition_get_dropped_sample_count(
			            &sensor_acquisition),

			    .dropped_telemetry_reports =
			        dropped_telemetry_reports
			};

		    //Message put on the queue
		    const osStatus_t queue_status =
		        osMessageQueuePut(
		            telemetry_queue_handle,
		            &report,
		            0U,  /* No message priority. */
		            0U);
		    if (queue_status == osOK)
		    {
		    	last_reported_state = current_state;
		    	last_reported_acquisition_state = acquisition_state;
		    }
		    else if (queue_status == osErrorResource)
		    {
		        /* Queue was full. */
		        ++dropped_telemetry_reports;
		    }
		    else
		    {
		        /* Invalid queue or another programming error. */
		        Error_Handler();
		    }
		}
		control_command_t request;
		const osStatus_t control_status = osMessageQueueGet(
		      control_command_queue_handle,
		      &request,
		      NULL,
		      0U);

		  if (control_status == osOK)
		  {
			  switch(request.command_type)
			  {
			  case CONTROL_COMMAND_SET_RATE:
				  //use request.rate_hz
				  break;

			  case CONTROL_COMMAND_SET_IMPACT_REFERENCE:
			  {
			      const bool success =
			          condition_monitor_set_impact_reference(
			              &condition_monitor,
			              request.impact_reference_mps2);

			      const control_response_t response =
			      {
			          .command = request,
			          .success = success
			      };

			      const osStatus_t response_status =
			          osMessageQueuePut(
			              control_response_queue_handle,
			              &response,
			              0U,
			              0U);

			      if (response_status == osErrorResource)
			      {
			          ++dropped_control_response_count;
			      }
			      else if (response_status != osOK)
			      {
			          Error_Handler();
			      }

			      break;
			  }
			  case CONTROL_COMMAND_GET_IMPACT_REFERENCE:
			  {
			      control_response_t response =
			      {
			          .command = request,
			          .success = true
			      };

			      response.command.impact_reference_mps2 =
			          condition_monitor_get_impact_reference(
			              &condition_monitor);

			      const osStatus_t response_status =
			          osMessageQueuePut(
			              control_response_queue_handle,
			              &response,
			              0U,
			              0U);

			      if (response_status == osErrorResource)
			      {
			          ++dropped_control_response_count;
			      }
			      else if (response_status != osOK)
			      {
			          Error_Handler();
			      }

			      break;
			  }

			  case CONTROL_COMMAND_START:
			  {
			      if (acquisition_state == ACQUISITION_STATE_STOPPED)
			      {

			          const ism330dhcx_status_t start_status =
			              ism330dhcx_configure_sensor(
			                  &motion_sensor,
			                  &running_sensor_config);

						if(start_status == ISM330DHCX_OK)
						{
							if(sensor_acquisition_discard_pending_drdy(&sensor_acquisition))
							{
								acquisition_state = ACQUISITION_STATE_RUNNING;
						        sensor_acquisition_set_new_reads_enabled(
						              &sensor_acquisition,
						              true);
							}
							else
							{
							    sensor_acquisition_set_new_reads_enabled(
							        &sensor_acquisition,
							        false);

							    acquisition_state = ACQUISITION_STATE_FAULT;
							}

						}
						else
						{
							sensor_acquisition_on_error(&sensor_acquisition);
							acquisition_state = ACQUISITION_STATE_FAULT;
						}

			      }

		    	  const control_response_t response =
		    	  {
		    	      .command = request,
					  .success =
					      (acquisition_state == ACQUISITION_STATE_RUNNING)
		    	  };
			      const osStatus_t response_status =
			          osMessageQueuePut(
			              control_response_queue_handle,
			              &response,
			              0U,
			              0U);

			      if (response_status == osErrorResource)
			      {
			          ++dropped_control_response_count;
			      }
			      else if (response_status != osOK)
			      {
			          Error_Handler();
			      }

				  break;
			  }
			  case CONTROL_COMMAND_STOP:
			  {
			      if (acquisition_state == ACQUISITION_STATE_RUNNING)
			      {
			          sensor_acquisition_set_new_reads_enabled(
			              &sensor_acquisition,
			              false);
			          stop_started_ms = HAL_GetTick();
			          acquisition_state = ACQUISITION_STATE_STOPPING;
			          pending_stop_request = request;
			          stop_response_pending = true;
			      }
			      else
			      {
			    	  const control_response_t response =
			    	  {
			    	      .command = request,
						  .success =
						      (acquisition_state == ACQUISITION_STATE_STOPPED)
			    	  };
				      const osStatus_t response_status =
				          osMessageQueuePut(
				              control_response_queue_handle,
				              &response,
				              0U,
				              0U);

				      if (response_status == osErrorResource)
				      {
				          ++dropped_control_response_count;
				      }
				      else if (response_status != osOK)
				      {
				          Error_Handler();
				      }
			      }

			      break;
			  }

			  default:
				  break;
			  }
		  }
		  else if (control_status != osErrorResource)
		  {
		      Error_Handler();
		  }

    osDelay(1U);
  }
  /* USER CODE END 5 */
}

void StartTask02(void *argument)
{
  /* USER CODE BEGIN StartTask02 */
	(void)argument;
	uint32_t processed_timer_event_count = 0U;

	telemetry_report_t report = {0};
	bool report_available = false;

	if (HAL_UART_Receive_IT(
	        &huart2,
	        &uart_rx_byte,
	        sizeof(uart_rx_byte)) != HAL_OK)
	{
	    ++uart_rx_rearm_error_count;
        uart_rx_restart_required = true;
	}
	static command_assembler_state_t cli_assember_state;
	(void)command_assembler_init(&cli_assember_state);
  /* Infinite loop */
  for(;;)
  {
      recover_uart_receive(&cli_assember_state);

	  const osStatus_t queue_status =
	      osMessageQueueGet(
	          telemetry_queue_handle,
	          &report,
	          NULL,
	          0U);
	  if (queue_status == osOK)
	  {
		  report_available = true;

	  }

	  else if (queue_status != osErrorResource)
	  {
	      Error_Handler();
	  }

	  uint8_t received_byte;

	  const osStatus_t rx_status = osMessageQueueGet(
	      rx_queue_handle,
	      &received_byte,
	      NULL,
	      1U);

	  if ((rx_status == osOK) && !uart_rx_restart_required)
	  {
		  const command_assembler_status_t assembler_status =   command_byte_processing(&cli_assember_state, received_byte);

		  switch(assembler_status)
		  {
		  case COMMAND_NOT_COMPLETE:
			  //Nothing
			  break;

		  case COMMAND_IS_AVAILABLE:
			  printf("Received command: %s\r\n", cli_assember_state.command);
			  control_command_t control_command;
			  if (!command_parser(cli_assember_state.command, &control_command))
			  {
			      printf("Unknown command or invalid argument\r\n");
			  }
			  else
			  {
			      handle_control_command(
			          &control_command, &report, report_available);
			  }

			  (void)command_assembler_init(&cli_assember_state);
			  break;
		  case COMMAND_IS_DISCARDED:
			  printf("Command discarded: too long or UART RX interrupted\r\n");
			  break;

		  case COMMAND_INVALID_ARGUMENT:
			  Error_Handler();
			  break;

		  default:Error_Handler();
		  break;
		  }

	  }
	  else if ((rx_status != osOK) && (rx_status != osErrorTimeout))
	  {
		  Error_Handler();
	  }

	  control_response_t response;

	  const osStatus_t response_status =
	      osMessageQueueGet(
	          control_response_queue_handle,
	          &response,
	          NULL,
	          0U);

	  if (response_status == osOK)
	  {
	      /* Inspect response.command.command_type and print the result. */
		  switch(response.command.command_type)
		  {
		  case CONTROL_COMMAND_SET_IMPACT_REFERENCE:
			    if (response.success)
			    {
			        printf(
			            "Impact reference applied: %.3f m/s^2\r\n",
			            response.command.impact_reference_mps2);
			    }
			    else
			    {
			        printf(
			            "Impact reference rejected: %.3f m/s^2\r\n",
			            response.command.impact_reference_mps2);
			    }
			  break;

		  case CONTROL_COMMAND_GET_IMPACT_REFERENCE:
		      if (response.success)
		      {
		          printf(
		              "Impact reference: %.3f m/s^2\r\n",
		              response.command.impact_reference_mps2);
		      }
		      else
		      {
		          printf("Unable to read impact reference\r\n");
		      }
		      break;

		  case CONTROL_COMMAND_SET_RATE:
			    if (response.success)
			    {
			        printf(
			            "Impact reference applied: %.3f m/s^2\r\n",
			            response.command.rate_hz);
			    }
			    else
			    {
			        printf(
			            "Impact reference rejected: %.3f m/s^2\r\n",
			            response.command.rate_hz);
			    }
			  break;

		  case CONTROL_COMMAND_STOP:
		      if (response.success)
		      {
		          printf("Acquisition stopped\r\n");
		      }
		      else
		      {
		    	  printf("Stop request rejected or failed\r\n");
		      }
		      break;
		  case CONTROL_COMMAND_START:
		      if (response.success)
		      {
		          printf("Acquisition started\r\n");
		      }
		      else
		      {
		    	  printf("Start request rejected or failed\r\n");
		      }
		      break;

		  default:printf(
		            "Unsupported Command requested!\r\n");

		  }
	  }
	  else if (response_status != osErrorResource)
	  {
	      Error_Handler();
	  }

		//BLINKER CODE BELOW

	  const uint32_t produced_timer_events = timer_event_count;

	    //Check the button, toggles the enabled flag
	    if(button_pressed_event)
	    {
	    	button_pressed_event = false;
	    	blinking_enabled = !blinking_enabled;

	    	if(!blinking_enabled)
	    	{
	    		HAL_GPIO_WritePin(LED2_GPIO_PORT, LED2_PIN, GPIO_PIN_RESET);
	    	}
	    }

	    if (processed_timer_event_count != produced_timer_events)
	    {

	        ++processed_timer_event_count;

	        if (blinking_enabled)
	        {
	            HAL_GPIO_TogglePin(
	                LED2_GPIO_PORT,
	                LED2_PIN);

	        }
	    }

  }
  /* USER CODE END StartTask02 */
}

void HAL_TIM_PeriodElapsedCallback(TIM_HandleTypeDef *htim)
{
  /* USER CODE BEGIN Callback 0 */

	//Timer that gives the toggle frequency
	if(htim->Instance == TIM6)
	{
		++timer_event_count;
	}

  /* USER CODE END Callback 0 */
  if (htim->Instance == TIM7)
  {
    HAL_IncTick();
  }
}

void Error_Handler(void)
{
  __disable_irq();
  while (1)
  {
  }
}
